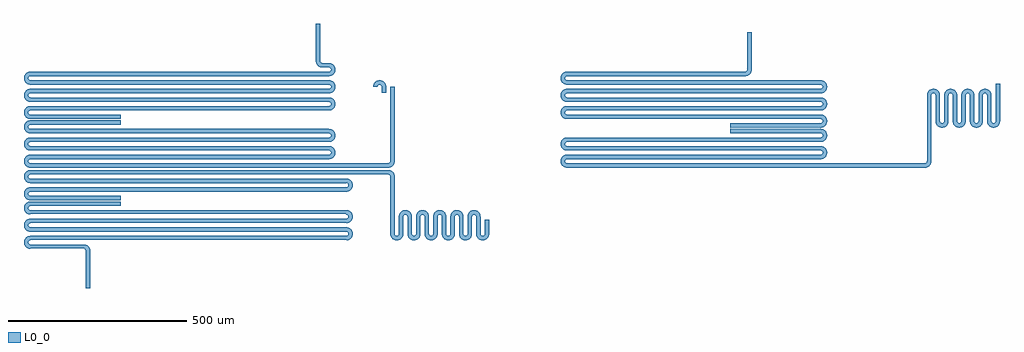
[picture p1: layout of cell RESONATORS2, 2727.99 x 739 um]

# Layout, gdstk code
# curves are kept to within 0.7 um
import gdstk
lib = gdstk.Library(unit=1e-6, precision=1e-09)
def R(c, l, rs):  # rectangles x0, y0, x1, y1
    for r in rs: c.add(gdstk.rectangle(r[:2], r[2:], *l))
def P(c, l, *ps):  # polygons
    for p in ps: c.add(gdstk.Polygon(p, *l))
L0_0 = (0, 0)

resonators2 = lib.new_cell('RESONATORS2')
R(resonators2, L0_0, [(3288.613,2638,3335.898,2650)])
P(resonators2, L0_0, [(2326,2752),(2324.572,2759.027),(2321.35,2764.074),(2315.577,2768.328),(2308.601,2769.99),(2301.531,2768.797),(2295.487,2764.939),(2291.428,2759.027),(2290,2752),(2302,2752),(2302.838,2755.058),(2305.117,2757.262),(2308.2,2757.997),(2311.228,2757.057),(2313.946,2752.8),(2314,2735.726),(2326,2735.726)],
  [(1327.418,2636.126),(1326.003,2639.8),(1327.418,2643.874),(1327.418,2657.401),(1322.827,2655.487),(1318.254,2651.621),(1315.203,2646.469),(1314.01,2640.601),(1314.808,2634.667),(1317.509,2629.323),(1321.813,2625.16),(1326.096,2622.996),(1327.418,2622.599)],
  [(1327.418,2588.126),(1326.003,2591.8),(1327.418,2595.874),(1327.418,2609.401),(1322.827,2607.487),(1318.254,2603.621),(1315.203,2598.469),(1314.01,2592.601),(1314.808,2586.667),(1317.509,2581.323),(1321.813,2577.16),(1326.096,2574.996),(1327.418,2574.599)],
  [(1327.418,2540.126),(1326.003,2543.8),(1327.418,2547.874),(1327.418,2561.401),(1322.827,2559.487),(1318.254,2555.621),(1315.203,2550.469),(1314.01,2544.601),(1314.808,2538.667),(1317.509,2533.323),(1321.813,2529.16),(1326.096,2526.996),(1327.418,2526.599)],
  [(1327.687,2644.171),(1332,2646),(1584,2646),(1584,2658),(1330.798,2657.96),(1327.418,2657.401)],
  [(2170.752,2633.466),(1332,2634),(1327.418,2636.126),(1327.418,2622.599),(2166.439,2622),(2170.752,2620.171)],
  [(1327.687,2596.171),(1332,2598),(2166.439,2598),(2170.752,2598.534),(2170.752,2611.829),(2166.439,2610),(1332,2610),(1327.418,2609.401)],
  [(2170.752,2585.466),(1332,2586),(1327.418,2588.126),(1327.418,2574.599),(2166.439,2574),(2170.752,2572.171)],
  [(1327.687,2548.171),(1332,2550),(2166.439,2550),(2170.752,2550.534),(2170.752,2563.829),(2166.439,2562),(1332,2562),(1327.418,2561.401)],
  [(2170.752,2538),(1332,2538),(1327.418,2540.126),(1327.418,2526.599),(2170.752,2526)],
  [(2333.177,2526.039),(2339.961,2527.856),(2344.728,2531.272),(2348.144,2536.039),(2349.961,2542.823),(2350,2752),(2338,2752),(2338,2544),(2336.511,2540.044),(2332,2538),(2170.752,2538),(2170.752,2526)],
  [(2171.195,2598.64),(2176.626,2601.16),(2180.93,2605.323),(2183.631,2610.667),(2184.429,2616.601),(2183.236,2622.469),(2180.185,2627.621),(2175.612,2631.487),(2170.752,2633.466),(2170.752,2620.171),(2172.436,2616.2),(2170.752,2611.829)],
  [(2171.195,2550.64),(2176.626,2553.16),(2180.93,2557.323),(2183.631,2562.667),(2184.429,2568.601),(2183.236,2574.469),(2180.185,2579.621),(2175.612,2583.487),(2170.752,2585.466),(2170.752,2572.171),(2172.436,2568.2),(2170.752,2563.829)],
  [(1326.738,2773.117),(1326.003,2775.8),(1326.738,2793.203),(1321.813,2790.84),(1317.509,2786.677),(1314.808,2781.333),(1314.01,2776.601),(1314.808,2770.667),(1317.509,2765.323),(1321.813,2761.16),(1326.738,2758.797)],
  [(1326.738,2725.117),(1326.003,2727.8),(1326.738,2745.203),(1321.813,2742.84),(1317.509,2738.677),(1314.808,2733.333),(1314.01,2728.601),(1314.808,2722.667),(1317.509,2717.323),(1321.813,2713.16),(1326.738,2710.797)],
  [(1326.738,2677.117),(1326.003,2679.8),(1326.738,2697.203),(1321.813,2694.84),(1317.509,2690.677),(1314.808,2685.333),(1314.01,2680.601),(1314.808,2674.667),(1317.509,2669.323),(1321.813,2665.16),(1326.738,2662.797)],
  [(2142.054,2823.217),(2142.002,2928),(2130.002,2928),(2130.156,2821.651),(2133.722,2813.042),(2137.044,2809.72),(2142.054,2807.016)],
  [(1327.17,2779.559),(1332,2782),(2142.054,2782),(2142.054,2794),(1332,2794),(1326.738,2793.203)],
  [(2142.054,2770),(1332,2770),(1328.942,2770.838),(1326.738,2773.117),(1326.738,2758.797),(1332,2758),(2142.054,2758)],
  [(1327.17,2731.559),(1332,2734),(2142.054,2734),(2142.054,2746),(1332,2746),(1326.738,2745.203)],
  [(2142.054,2722),(1332,2722),(1328.942,2722.838),(1326.738,2725.117),(1326.738,2710.797),(1332,2710),(2142.054,2710)],
  [(1327.17,2683.559),(1332,2686),(2142.054,2686),(2142.054,2698),(1332,2698),(1326.738,2697.203)],
  [(1584,2674),(1332,2674),(1328.942,2674.838),(1326.738,2677.117),(1326.738,2662.797),(1332,2662),(1584,2662)],
  [(2171.701,2817.203),(2146.832,2818.115),(2143.491,2820.044),(2142.054,2823.217),(2142.054,2807.016),(2146.825,2806.039),(2167.239,2805.946),(2171.701,2802.883)],
  [(2166.439,2782),(2171.701,2782.797),(2171.701,2797.117),(2167.239,2794.054),(2142.054,2794),(2142.054,2782)],
  [(2171.701,2769.203),(2142.054,2770),(2142.054,2758),(2167.239,2757.946),(2171.701,2754.883)],
  [(2166.439,2734),(2171.701,2734.797),(2171.701,2749.117),(2167.239,2746.054),(2142.054,2746),(2142.054,2734)],
  [(2171.701,2721.203),(2142.054,2722),(2142.054,2710),(2167.239,2709.946),(2171.701,2706.883)],
  [(2166.439,2686),(2171.701,2686.797),(2171.701,2701.117),(2167.239,2698.054),(2142.054,2698),(2142.054,2686)],
  [(2171.882,2782.853),(2176.626,2785.16),(2180.93,2789.323),(2183.631,2794.667),(2184.429,2800.601),(2183.631,2805.333),(2180.93,2810.677),(2176.626,2814.84),(2171.701,2817.203)],
  [(2171.882,2734.853),(2176.626,2737.16),(2180.93,2741.323),(2183.631,2746.667),(2184.429,2752.601),(2183.631,2757.333),(2180.93,2762.677),(2176.626,2766.84),(2171.701,2769.203)],
  [(2171.882,2686.853),(2176.626,2689.16),(2180.93,2693.323),(2183.631,2698.667),(2184.429,2704.601),(2183.631,2709.333),(2180.93,2714.677),(2176.626,2718.84),(2171.701,2721.203)],
  [(1331.2,2458.946),(1327.418,2456.874),(1326.003,2453.2),(1327.418,2449.126),(1331.2,2447.054),(1331.2,2435.027),(1324.973,2436.428),(1319.061,2440.487),(1315.672,2445.423),(1314.01,2452.399),(1314.808,2458.333),(1317.509,2463.677),(1321.813,2467.84),(1326.096,2470.004),(1331.2,2470.973)],
  [(1331.2,2506.946),(1327.418,2504.874),(1326.003,2501.2),(1327.418,2497.126),(1331.2,2495.054),(1331.2,2483.027),(1324.973,2484.428),(1319.061,2488.487),(1315.672,2493.423),(1314.01,2500.399),(1314.808,2506.333),(1317.509,2511.677),(1321.813,2515.84),(1326.096,2518.004),(1331.2,2518.973)],
  [(2333.177,2518.961),(2338.888,2517.63),(2343.868,2514.533),(2347.588,2510),(2349.531,2505.04),(2349.531,2324.203),(2344.379,2327.254),(2341.16,2330.813),(2338.04,2339.798),(2338,2501),(2336.76,2504.653),(2333.171,2506.885),(1331.2,2506.946),(1331.2,2518.973),(1332,2519)],
  [(1331.599,2447.013),(1332,2447),(1584,2447),(1584,2435),(1332,2435),(1331.2,2435.027),(1331.2,2447.054)],
  [(1331.599,2495.013),(2214.996,2495),(2222.023,2493.572),(2227.935,2489.513),(2231.793,2483.469),(2232.986,2476.399),(2231.324,2469.423),(2227.07,2463.65),(2222.023,2460.428),(2214.996,2459),(1331.2,2458.946),(1331.2,2470.973),(1332,2471),(2214.996,2471),(2219.021,2472.55),(2220.993,2476.8),(2219.309,2481.171),(2214.996,2483),(1332,2483),(1331.2,2483.027)],
  [(2349.654,2504.512),(2350,2341),(2350.476,2338.658),(2353.117,2335.738),(2356.601,2335.03),(2359.874,2336.418),(2361.88,2339.805),(2362.04,2390.202),(2362.996,2394.904),(2364.513,2398.173),(2369.323,2403.491),(2375.827,2406.51),(2382.994,2406.749),(2389.16,2404.483),(2389.16,2330.813),(2386.996,2335.096),(2386.04,2339.798),(2385.946,2389.8),(2385.162,2392.058),(2383.559,2393.83),(2381.391,2394.837),(2378.609,2394.837),(2375.55,2393.025),(2374.013,2389.401),(2374,2341),(2373.36,2336.244),(2370.84,2330.813),(2367.621,2327.254),(2362.469,2324.203),(2356.601,2323.01),(2349.531,2324.203)],
  [(2389.874,2404.042),(2394.84,2399.187),(2397.639,2392.585),(2398.054,2340.2),(2400.126,2336.418),(2404.2,2335.003),(2407.874,2336.418),(2409.946,2340.2),(2410,2389),(2411.428,2396.027),(2414.65,2401.074),(2420.423,2405.328),(2426.198,2406.91),(2433.162,2406.239),(2433.162,2392.058),(2430.526,2394.443),(2427.002,2394.916),(2423.829,2393.313),(2422.12,2390.195),(2421.36,2336.244),(2416.513,2328.061),(2408.173,2323.49),(2402.198,2323.09),(2397.531,2324.203),(2392.513,2327.148),(2389.16,2330.813),(2389.16,2404.483)],
  [(2433.355,2406.184),(2441.35,2401.074),(2445.36,2393.756),(2446.054,2340.2),(2448.126,2336.418),(2452.2,2335.003),(2455.874,2336.418),(2457.946,2340.2),(2458,2389),(2458.996,2394.904),(2461.16,2399.187),(2465.323,2403.491),(2470.667,2406.192),(2475.8,2406.99),(2475.8,2394.997),(2471.829,2393.313),(2470.013,2389.401),(2469.639,2337.415),(2465.35,2328.926),(2457.333,2323.808),(2450.198,2323.09),(2443.35,2325.215),(2437.874,2329.845),(2434.64,2336.244)],
  [(2477.802,2406.91),(2483.577,2405.328),(2487.621,2402.746),(2490.84,2399.187),(2493.36,2393.756),(2494.054,2340.2),(2496.126,2336.418),(2499.8,2335.003),(2503.874,2336.418),(2505.946,2340.2),(2506.64,2393.756),(2511.487,2401.939),(2519.291,2406.363),(2519.291,2392.718),(2518,2389),(2517.639,2337.415),(2513.35,2328.926),(2505.333,2323.808),(2498.198,2323.09),(2492.423,2324.672),(2486.65,2328.926),(2482.996,2335.096),(2482,2341),(2481.987,2389.401),(2479.874,2393.582),(2475.8,2394.997),(2475.8,2406.99)],
  [(2525.802,2406.91),(2531.577,2405.328),(2535.621,2402.746),(2538.84,2399.187),(2541.36,2393.756),(2542.054,2340.2),(2544.126,2336.418),(2547.8,2335.003),(2551.874,2336.418),(2553.946,2340.2),(2554.64,2393.756),(2558.65,2401.074),(2565.639,2405.835),(2565.639,2337.415),(2561.35,2328.926),(2553.333,2323.808),(2546.198,2323.09),(2540.423,2324.672),(2534.65,2328.926),(2530.996,2335.096),(2530,2341),(2529.88,2390.195),(2528.45,2393.025),(2525.391,2394.837),(2522.222,2394.731),(2519.291,2392.718),(2519.291,2406.363)],
  [(2573.802,2406.91),(2579.577,2405.328),(2583.621,2402.746),(2586.84,2399.187),(2589.36,2393.756),(2590.013,2340.599),(2592.772,2335.943),(2595.8,2335.003),(2598.526,2335.557),(2601.88,2339.805),(2602,2380.885),(2614,2380.885),(2613.639,2337.415),(2609.35,2328.926),(2601.333,2323.808),(2594.198,2323.09),(2588.423,2324.672),(2582.65,2328.926),(2578.996,2335.096),(2578,2341),(2577.987,2389.401),(2576.947,2392.396),(2574.156,2394.599),(2569.117,2394.262),(2566.054,2389.8),(2565.639,2337.415),(2565.639,2405.835)],
  [(1327.244,2320.653),(1326.003,2317.2),(1327.244,2313.347),(1327.244,2299.64),(1321.813,2302.16),(1318.254,2305.379),(1315.203,2310.531),(1314.01,2316.399),(1314.808,2322.333),(1317.509,2327.677),(1321.813,2331.84),(1326.096,2334.004),(1327.244,2334.36)],
  [(1327.244,2368.653),(1326.003,2365.2),(1327.244,2361.347),(1327.244,2347.64),(1321.813,2350.16),(1318.254,2353.379),(1315.203,2358.531),(1314.01,2364.399),(1314.808,2370.333),(1317.509,2375.677),(1321.813,2379.84),(1326.096,2382.004),(1327.244,2382.36)],
  [(1327.244,2416.653),(1326.003,2413.2),(1327.244,2409.347),(1327.244,2395.64),(1321.813,2398.16),(1318.254,2401.379),(1315.203,2406.531),(1314.01,2412.399),(1314.808,2418.333),(1317.509,2423.677),(1321.813,2427.84),(1326.096,2430.004),(1327.244,2430.36)],
  [(1327.418,2313.126),(1332,2311),(1482.362,2310.961),(1488.074,2309.63),(1492.143,2307.28),(1496.774,2302),(1499.147,2294.177),(1499.185,2189),(1487.185,2189),(1487.185,2293),(1484.838,2297.76),(1481.185,2299),(1330.798,2299.04),(1327.244,2299.64)],
  [(2215.796,2323.027),(1332,2323),(1327.244,2320.653),(1327.244,2334.36),(2215.796,2335.054)],
  [(1327.418,2361.126),(1332,2359),(2214.996,2359),(2215.796,2358.973),(2215.796,2346.946),(1332,2347),(1327.244,2347.64)],
  [(2215.796,2371.027),(1332,2371),(1327.244,2368.653),(1327.244,2382.36),(2215.796,2383.054)],
  [(1327.418,2409.126),(1332,2407),(2214.996,2407),(2215.796,2406.973),(2215.796,2394.946),(1332,2395),(1327.244,2395.64)],
  [(1584,2419),(1332,2419),(1327.244,2416.653),(1327.244,2430.36),(1584,2431)],
  [(2216.198,2358.96),(2223.114,2357.065),(2228.742,2352.621),(2232.188,2346.333),(2232.986,2340.399),(2231.324,2333.423),(2227.935,2328.487),(2222.023,2324.428),(2215.796,2323.027),(2215.796,2335.054),(2219.578,2337.126),(2220.993,2340.8),(2219.578,2344.874),(2215.796,2346.946)],
  [(2216.198,2406.96),(2223.114,2405.065),(2228.742,2400.621),(2232.188,2394.333),(2232.986,2388.399),(2231.324,2381.423),(2227.935,2376.487),(2222.023,2372.428),(2215.796,2371.027),(2215.796,2383.054),(2219.578,2385.126),(2220.993,2388.8),(2219.578,2392.874),(2215.796,2394.946)],
  [(2830.415,2586.213),(2827.17,2588.441),(2826.003,2592.2),(2827.418,2595.874),(2830.805,2597.88),(2830.805,2609.96),(2824.973,2608.572),(2819.061,2604.513),(2815.672,2599.577),(2814.01,2592.601),(2814.49,2587.827),(2816.828,2582.315),(2819.926,2578.65),(2824.973,2575.428),(2830.805,2574.04)],
  [(2830.415,2538.213),(2827.17,2540.441),(2826.003,2544.2),(2827.418,2547.874),(2830.805,2549.88),(2830.805,2561.96),(2824.973,2560.572),(2819.061,2556.513),(2815.672,2551.577),(2814.01,2544.601),(2814.49,2539.827),(2816.828,2534.315),(2819.926,2530.65),(2824.973,2527.428),(2830.805,2526.04)],
  [(2831.2,2597.946),(3541.816,2598.04),(3549.787,2600.513),(3555.786,2606.315),(3555.786,2625.685),(3549.787,2631.487),(3540.614,2634),(3288.614,2634),(3288.614,2622),(3541.014,2621.987),(3544.927,2620.171),(3546.61,2616.2),(3545.196,2612.126),(3541.014,2610.013),(2832,2610),(2830.805,2609.96)],
  [(2831.2,2549.946),(3541.816,2550.04),(3549.787,2552.513),(3555.786,2558.315),(3555.786,2577.685),(3549.787,2583.487),(3540.614,2586),(2830.805,2586.12),(2830.805,2574.04),(2832,2574),(3540.614,2574),(3544.927,2572.171),(3546.61,2568.2),(3544.927,2563.829),(3540.614,2562),(2832,2562),(2830.805,2561.96)],
  [(3555.786,2538),(2832,2538),(2831.599,2538.013),(2831.2,2538.054),(2830.805,2538.12),(2830.805,2526.04),(2832,2526),(3555.786,2526)],
  [(3833.177,2526.039),(3839.961,2527.856),(3844.728,2531.272),(3848.144,2536.039),(3849.961,2542.823),(3850.213,2729.585),(3852.441,2732.83),(3856.2,2733.997),(3859.874,2732.582),(3861.946,2728.8),(3862,2656),(3863.428,2648.973),(3863.428,2744.391),(3856.601,2745.99),(3850.332,2745.076),(3844.379,2741.746),(3840.513,2737.173),(3838.161,2730.399),(3838,2544),(3837.381,2541.346),(3835.333,2539.011),(3832,2538),(3555.786,2538),(3555.786,2526)],
  [(3556.399,2607.35),(3558.123,2611.827),(3558.604,2616.601),(3557.805,2621.333),(3555.786,2625.685),(3555.786,2606.315)],
  [(3556.399,2559.35),(3558.123,2563.827),(3558.604,2568.601),(3557.805,2573.333),(3555.786,2577.685),(3555.786,2558.315)],
  [(3881.802,2638.09),(3887.577,2639.672),(3891.621,2642.254),(3894.84,2645.813),(3897.36,2651.244),(3898.054,2728.8),(3899.291,2731.718),(3901.844,2733.599),(3904.998,2733.916),(3907.874,2732.582),(3907.874,2745.57),(3901.006,2745.749),(3894.315,2743.172),(3889.16,2738.187),(3886.64,2732.756),(3885.987,2655.599),(3884.171,2651.687),(3880.2,2650.003),(3876.126,2651.418),(3874.013,2655.599),(3873.639,2731.585),(3870.126,2739.155),(3863.428,2744.391),(3863.428,2648.973),(3866.65,2643.926),(3870.315,2640.828),(3875.827,2638.49)],
  [(3929.802,2638.09),(3935.577,2639.672),(3939.621,2642.254),(3943.487,2646.827),(3945.639,2652.415),(3946.013,2728.401),(3947.053,2731.396),(3949.117,2733.262),(3949.117,2745.764),(3944.423,2744.328),(3939.487,2740.939),(3936.513,2737.173),(3934.361,2731.585),(3933.987,2655.599),(3932.171,2651.687),(3928.2,2650.003),(3924.126,2651.418),(3922.013,2655.599),(3921.639,2731.585),(3919.487,2737.173),(3916.513,2740.939),(3907.874,2745.57),(3907.874,2732.582),(3910,2728),(3910.361,2652.415),(3913.16,2645.813),(3917.323,2641.509),(3923.827,2638.49)],
  [(3949.844,2733.599),(3954.883,2733.262),(3957.946,2728.8),(3958,2656),(3958.996,2650.096),(3962.65,2643.926),(3968.423,2639.672),(3974.198,2638.09),(3981.333,2638.808),(3989.35,2643.926),(3992.572,2648.973),(3993.839,2653.601),(3994,2744.96),(3986.65,2740.074),(3982.361,2731.585),(3981.987,2655.599),(3980.45,2651.975),(3977.391,2650.163),(3972.441,2651.17),(3970.013,2655.599),(3970,2728),(3969.004,2733.904),(3966.84,2738.187),(3962.677,2742.491),(3957.333,2745.192),(3951.399,2745.99),(3949.117,2745.764),(3949.117,2733.262)],
  [(3994.054,2728.8),(3996.126,2732.582),(3999.8,2733.997),(4003.874,2732.582),(4005.88,2729.195),(4006,2656),(4007.428,2648.973),(4010.65,2643.926),(4016.423,2639.672),(4023.399,2638.01),(4030.469,2639.203),(4035.621,2642.254),(4038.84,2645.813),(4041.96,2654.798),(4042,2760.982),(4030,2760.982),(4030,2656),(4029.355,2653.294),(4027.228,2650.943),(4024.2,2650.003),(4021.474,2650.557),(4019.053,2652.604),(4018.054,2655.2),(4018,2728),(4016.572,2735.027),(4013.35,2740.074),(4007.577,2744.328),(4001.802,2745.91),(3994.667,2745.192)],
  [(2826.738,2773.117),(2826.003,2775.8),(2826.738,2793.203),(2821.813,2790.84),(2817.509,2786.677),(2814.808,2781.333),(2814.01,2776.601),(2814.808,2770.667),(2817.509,2765.323),(2821.813,2761.16),(2826.738,2758.797)],
  [(2826.738,2725.117),(2826.003,2727.8),(2826.738,2745.203),(2821.813,2742.84),(2817.509,2738.677),(2814.808,2733.333),(2814.01,2728.601),(2814.808,2722.667),(2817.509,2717.323),(2821.813,2713.16),(2826.738,2710.797)],
  [(2826.738,2677.117),(2826.003,2679.8),(2826.738,2697.203),(2821.813,2694.84),(2817.509,2690.677),(2814.808,2685.333),(2814.01,2680.601),(2814.808,2674.667),(2817.509,2669.323),(2821.813,2665.16),(2826.738,2662.797)],
  [(2826.942,2779.228),(2829.294,2781.355),(2832,2782),(3331.127,2782.039),(3335.898,2783.017),(3335.898,2799.217),(3333.906,2795.489),(3329.95,2794),(2830.798,2793.96),(2826.738,2793.203)],
  [(3335.898,2770),(2832,2770),(2828.942,2770.838),(2826.738,2773.117),(2826.738,2758.797),(2832,2758),(3335.898,2758)],
  [(2827.169,2731.559),(2832,2734),(3335.898,2734),(3335.898,2746),(2832,2746),(2826.738,2745.203)],
  [(3335.898,2722),(2832,2722),(2828.942,2722.838),(2826.738,2725.117),(2826.738,2710.797),(2832,2710),(3335.898,2710)],
  [(2827.169,2683.559),(2832,2686),(3335.898,2686),(3335.898,2698),(2832,2698),(2826.738,2697.203)],
  [(3335.898,2674),(2832,2674),(2828.942,2674.838),(2826.738,2677.117),(2826.738,2662.797),(2832,2662),(3335.898,2662)],
  [(3336.838,2783.37),(3344.23,2789.042),(3346.994,2794.214),(3347.911,2798.823),(3347.95,2904),(3335.95,2904),(3335.898,2783.017)],
  [(3545.875,2769.203),(3540.613,2770),(3335.898,2770),(3335.898,2758),(3540.613,2758),(3543.671,2757.162),(3545.875,2754.883)],
  [(3540.613,2734),(3545.875,2734.797),(3545.875,2749.117),(3543.671,2746.838),(3540.613,2746),(3335.898,2746),(3335.898,2734)],
  [(3545.875,2721.203),(3540.613,2722),(3335.898,2722),(3335.898,2710),(3540.613,2710),(3543.671,2709.162),(3545.875,2706.883)],
  [(3540.613,2686),(3545.875,2686.797),(3545.875,2701.117),(3543.671,2698.838),(3540.613,2698),(3335.898,2698),(3335.898,2686)],
  [(3545.875,2673.203),(3540.613,2674),(3335.898,2674),(3335.898,2662),(3540.613,2662),(3543.671,2661.162),(3545.875,2658.883)],
  [(3541.816,2638.04),(3545.875,2638.797),(3545.875,2653.117),(3543.671,2650.838),(3540.613,2650),(3335.898,2650),(3335.898,2638)],
  [(3546.056,2734.853),(3550.8,2737.16),(3555.105,2741.323),(3557.805,2746.667),(3558.603,2752.601),(3557.411,2758.469),(3555.105,2762.677),(3550.8,2766.84),(3545.875,2769.203)],
  [(3546.056,2686.853),(3550.8,2689.16),(3555.105,2693.323),(3557.805,2698.667),(3558.603,2704.601),(3557.411,2710.469),(3555.105,2714.677),(3550.8,2718.84),(3545.875,2721.203)],
  [(3546.056,2638.853),(3550.8,2641.16),(3555.105,2645.323),(3557.805,2650.667),(3558.603,2656.601),(3557.411,2662.469),(3555.105,2666.677),(3550.8,2670.84),(3545.875,2673.203)])

lib.write_gds('RESONATORS2.gds')
